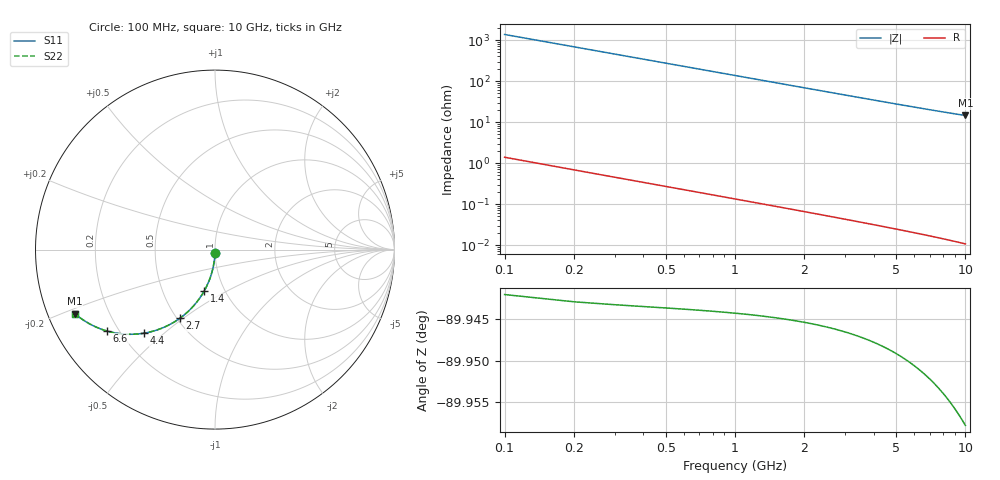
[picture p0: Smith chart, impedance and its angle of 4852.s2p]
# Hz S RI R 50.00
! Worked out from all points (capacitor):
!   100 points, 100 MHz to 10 GHz, reference 50 ohm
!   read as one part in shunt: C = 1.16 pF near 100 MHz
!   lowest |Z| = 14.5 ohm at 10 GHz (marker M1)
!   S11 on the Smith chart (normalised r, x): 100 MHz: 1.00, -0.04; 1.4 GHz: 0.80, -0.39; 2.7 GHz: 0.52, -0.49; 4.4 GHz: 0.29, -0.43; 6.6 GHz: 0.16, -0.33; 10 GHz: 0.08, -0.22
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1e8  -0.000226 -0.0177  0.9995 -0.0187  0.9995 -0.0187  -0.000226 -0.0177
2e8  -0.00124 -0.0354  0.9985 -0.0374  0.9985 -0.0374  -0.00124 -0.0354
3e8  -0.00291 -0.053  0.9968 -0.0561  0.9968 -0.0561  -0.00291 -0.053
4e8  -0.00523 -0.0705  0.9945 -0.0746  0.9945 -0.0746  -0.00523 -0.0705
5e8  -0.0082 -0.0878  0.9915 -0.093  0.9915 -0.093  -0.0082 -0.0878
6e8  -0.0118 -0.105  0.9879 -0.1112  0.9879 -0.1112  -0.0118 -0.105
7e8  -0.016 -0.122  0.9837 -0.1292  0.9837 -0.1292  -0.016 -0.122
9e8  -0.0263 -0.1552  0.9734 -0.1645  0.9734 -0.1645  -0.0263 -0.1552
1.1e9  -0.0388 -0.1872  0.9609 -0.1986  0.9609 -0.1986  -0.0388 -0.1872
1.4e9  -0.0614 -0.2326  0.9383 -0.2471  0.9383 -0.2471  -0.0614 -0.2326
1.8e9  -0.0977 -0.2874  0.9019 -0.306  0.9019 -0.306  -0.0977 -0.2874
2.2e9  -0.1394 -0.3348  0.8601 -0.3576  0.8601 -0.3576  -0.1394 -0.3348
2.7e9  -0.1965 -0.3831  0.8028 -0.4111  0.8028 -0.4111  -0.1965 -0.3831
3.4e9  -0.2803 -0.4312  0.7188 -0.4666  0.7188 -0.4666  -0.2803 -0.4312
4.4e9  -0.3964 -0.4657  0.6023 -0.5118  0.6023 -0.5118  -0.3964 -0.4657
5.1e9  -0.4701 -0.4718  0.5282 -0.5255  0.5282 -0.5255  -0.4701 -0.4718
5.8e9  -0.5357 -0.4675  0.4621 -0.5288  0.4621 -0.5288  -0.5357 -0.4675
6.6e9  -0.6007 -0.4539  0.3965 -0.524  0.3965 -0.524  -0.6007 -0.4539
6.7e9  -0.6081 -0.4517  0.389 -0.5229  0.389 -0.5229  -0.6081 -0.4517
7.5e9  -0.662 -0.4318  0.3344 -0.512  0.3344 -0.512  -0.662 -0.4318
8.4e9  -0.7125 -0.4057  0.2831 -0.4963  0.2831 -0.4963  -0.7125 -0.4057
1e10  -0.7809 -0.3562  0.2128 -0.4656  0.2128 -0.4656  -0.7809 -0.3562
